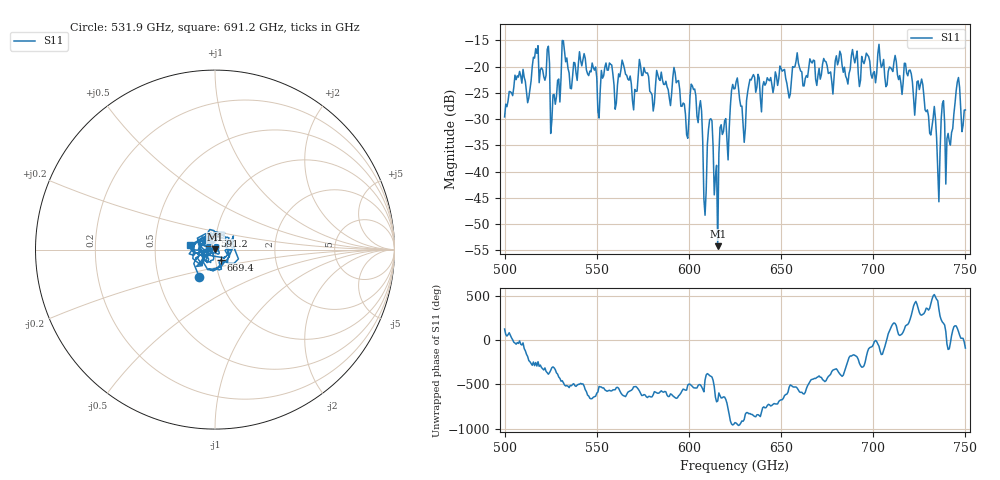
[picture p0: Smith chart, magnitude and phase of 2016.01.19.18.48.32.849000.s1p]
!Created with skrf (http://scikit-rf.org).
# GHz S RI R 50.0
!freq ReS11 ImS11
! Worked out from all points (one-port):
!   401 points, 500 GHz to 750 GHz, reference 50 ohm
!   lowest |S11| = -54.2 dB at 615.6 GHz (marker M1), VSWR 1.00, Z = 50.2 + j0.104 ohm
!   |S11| at or under -10 dB: start of sweep to end of sweep
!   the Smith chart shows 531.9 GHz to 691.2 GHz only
!   S11 on the Smith chart (normalised r, x): 531.9 GHz: 0.80, -0.26; 591.2 GHz: 0.98, +0.16; 669.4 GHz: 1.06, -0.12; 691.2 GHz: 0.76, +0.04
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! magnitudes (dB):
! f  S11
! 500 GHz  -29.6
! 516.9 GHz  -16.6
! 523.1 GHz  -16.7
! 526.2 GHz  -25.4
! 531.2 GHz  -15.0
! 531.9 GHz  -15.1
! 551.2 GHz  -29.8
! 562.5 GHz  -21.9
! 591.2 GHz  -22.1
! 593.8 GHz  -22.8
! 598.8 GHz  -33.0
! 602.5 GHz  -24.4
! 608.8 GHz  -48.3
! 611.2 GHz  -30.1
! 615.6 GHz  -54.2
! 625 GHz  -24.2
! 629.4 GHz  -30.9
! 634.4 GHz  -22.0
! 656.2 GHz  -20.0
! 669.4 GHz  -23.6
! 687.5 GHz  -20.5
! 691.2 GHz  -17.0
! 718.8 GHz  -21.7
! 735 GHz  -39.8
! 737.5 GHz  -27.1
! 740.6 GHz  -32.7
! 745.6 GHz  -22.9
! 750 GHz  -28.3
